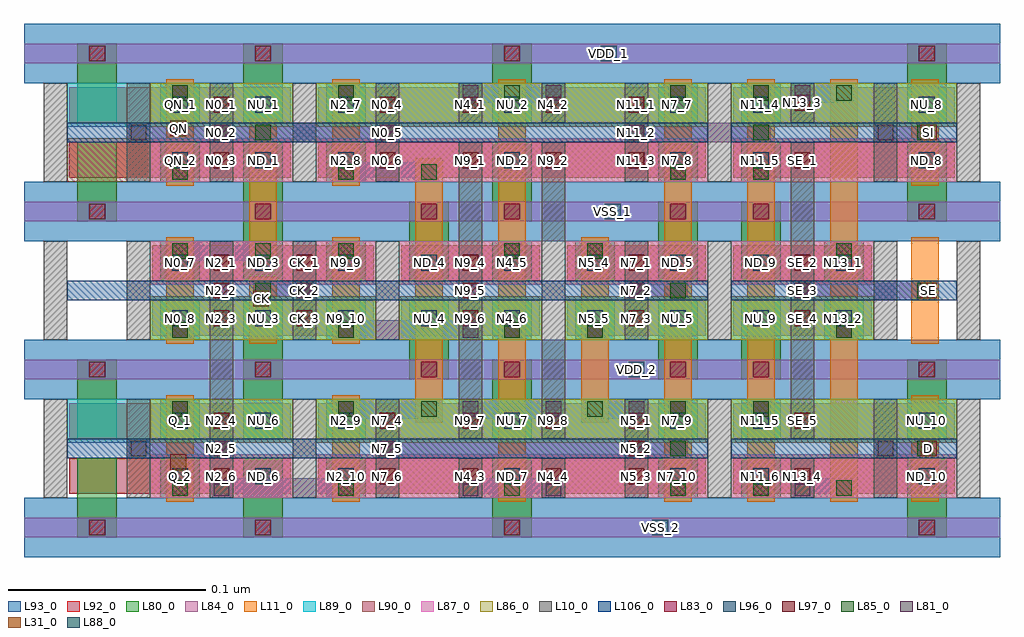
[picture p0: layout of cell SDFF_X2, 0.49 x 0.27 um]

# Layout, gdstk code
import gdstk
lib = gdstk.Library(unit=1e-6, precision=1e-09)
def R(c, l, rs):  # rectangles x0, y0, x1, y1
    for r in rs: c.add(gdstk.rectangle(r[:2], r[2:], *l))
def A(c, l, x, y, w, h, nx, ny, dx, dy):  # array of equal rectangles
    R(c, l, [(x+i*dx, y+j*dy, x+i*dx+w, y+j*dy+h) for i in range(nx) for j in range(ny)])
L10_0 = (10, 0)
L11_0 = (11, 0)
L31_0 = (31, 0)
L80_0 = (80, 0)
L81_0 = (81, 0)
L83_0 = (83, 0)
L84_0 = (84, 0)
L85_0 = (85, 0)
L86_0 = (86, 0)
L87_0 = (87, 0)
L88_0 = (88, 0)
L89_0 = (89, 0)
L90_0 = (90, 0)
L92_0 = (92, 0)
L93_0 = (93, 0)
L96_0 = (96, 0)
L97_0 = (97, 0)
L106_0 = (106, 0)

sdff_x2 = lib.new_cell('SDFF_X2')
A(sdff_x2, L10_0, 0.314, 0.03, 0.012, 0.05, 1, 3, 0, 0.08)
A(sdff_x2, L10_0, 0.356, 0.03, 0.012, 0.05, 1, 3, 0, 0.08)
A(sdff_x2, L10_0, 0.44, 0.03, 0.012, 0.05, 1, 3, 0, 0.08)
A(sdff_x2, L10_0, 0.482, 0.03, 0.012, 0.05, 1, 3, 0, 0.08)
A(sdff_x2, L10_0, 0.02, 0.19, 0.012, 0.05, 5, 1, 0.042, 0)
R(sdff_x2, L10_0, [(0.02,0.03,0.032,0.08), (0.062,0.03,0.074,0.08), (0.104,0.03,0.116,0.16), (0.146,0.03,0.158,0.08), (0.188,0.03,0.2,0.08), (0.23,0.03,0.242,0.05), (0.272,0.03,0.284,0.05), (0.398,0.03,0.41,0.05), (0.23,0.06,0.242,0.08), (0.23,0.06,0.242,0.21), (0.272,0.06,0.284,0.21), (0.398,0.06,0.41,0.08), (0.398,0.08,0.41,0.19), (0.02,0.11,0.032,0.16), (0.062,0.11,0.074,0.16), (0.146,0.11,0.158,0.16), (0.188,0.11,0.2,0.16), (0.398,0.19,0.41,0.21), (0.23,0.22,0.242,0.24), (0.272,0.22,0.284,0.24), (0.398,0.22,0.41,0.24)])
A(sdff_x2, L11_0, 0.082, 0.028, 0.014, 0.034, 4, 2, 0.084, 0.02)
A(sdff_x2, L11_0, 0.459, 0.028, 0.014, 0.054, 1, 3, 0, 0.08)
A(sdff_x2, L11_0, 0.208, 0.068, 0.014, 0.034, 4, 2, 0.042, 0.02)
A(sdff_x2, L11_0, 0.082, 0.108, 0.014, 0.034, 7, 1, 0.042, 0)
A(sdff_x2, L11_0, 0.166, 0.128, 0.014, 0.034, 5, 1, 0.042, 0)
A(sdff_x2, L11_0, 0.25, 0.148, 0.014, 0.034, 1, 3, 0, 0.02)
A(sdff_x2, L11_0, 0.334, 0.148, 0.014, 0.034, 1, 3, 0, 0.02)
A(sdff_x2, L11_0, 0.082, 0.188, 0.014, 0.034, 3, 1, 0.042, 0)
A(sdff_x2, L11_0, 0.082, 0.208, 0.014, 0.034, 4, 1, 0.084, 0)
R(sdff_x2, L11_0, [(0.376,0.028,0.39,0.062), (0.418,0.028,0.432,0.142), (0.376,0.048,0.39,0.082), (0.376,0.062,0.39,0.222), (0.082,0.128,0.096,0.162), (0.418,0.128,0.432,0.242), (0.124,0.148,0.138,0.182), (0.208,0.148,0.222,0.182), (0.124,0.168,0.138,0.202), (0.208,0.168,0.222,0.202), (0.376,0.208,0.39,0.242)])
A(sdff_x2, L31_0, 0.464, 0.051, 0.008, 0.008, 1, 3, 0, 0.08)
R(sdff_x2, L31_0, [(0.084,0.044,0.092,0.052), (0.126,0.127,0.134,0.135), (0.084,0.213,0.092,0.221)])
A(sdff_x2, L80_0, 0.121, 0.01, 0.02, 0.021, 1, 3, 0, 0.08)
A(sdff_x2, L80_0, 0.079, 0.03, 0.02, 0.02, 3, 2, 0.042, 0.16)
A(sdff_x2, L80_0, 0.121, 0.071, 0.02, 0.029, 1, 3, 0, 0.08)
A(sdff_x2, L80_0, 0.079, 0.11, 0.02, 0.02, 9, 1, 0.042, 0)
R(sdff_x2, L80_0, [(0.037,0.01,0.057,0.05), (0.247,0.01,0.267,0.031), (0.457,0.01,0.477,0.031), (0.247,0.03,0.267,0.05), (0.331,0.03,0.351,0.05), (0.373,0.03,0.393,0.05), (0.457,0.03,0.477,0.05), (0.037,0.06,0.057,0.1), (0.079,0.06,0.099,0.08), (0.079,0.06,0.099,0.08), (0.121,0.06,0.141,0.08), (0.121,0.06,0.141,0.08), (0.163,0.06,0.183,0.08), (0.163,0.06,0.183,0.08), (0.247,0.06,0.267,0.08), (0.247,0.06,0.267,0.08), (0.331,0.06,0.351,0.08), (0.331,0.06,0.351,0.08), (0.373,0.06,0.393,0.08), (0.373,0.06,0.393,0.08), (0.457,0.06,0.477,0.08), (0.457,0.06,0.477,0.08), (0.247,0.071,0.267,0.1), (0.457,0.071,0.477,0.1), (0.205,0.09,0.225,0.111), (0.331,0.09,0.351,0.111), (0.373,0.09,0.393,0.111), (0.079,0.14,0.099,0.16), (0.079,0.14,0.099,0.16), (0.121,0.14,0.141,0.16), (0.121,0.14,0.141,0.16), (0.163,0.14,0.183,0.16), (0.163,0.14,0.183,0.16), (0.205,0.14,0.225,0.16), (0.205,0.14,0.225,0.16), (0.247,0.14,0.267,0.16), (0.247,0.14,0.267,0.16), (0.289,0.14,0.309,0.16), (0.289,0.14,0.309,0.16), (0.331,0.14,0.351,0.16), (0.331,0.14,0.351,0.16), (0.373,0.14,0.393,0.16), (0.373,0.14,0.393,0.16), (0.415,0.14,0.435,0.16), (0.415,0.14,0.435,0.16), (0.205,0.151,0.225,0.18), (0.331,0.151,0.351,0.18), (0.373,0.151,0.393,0.18), (0.037,0.17,0.057,0.21), (0.247,0.17,0.267,0.191), (0.457,0.17,0.477,0.191), (0.247,0.19,0.267,0.21), (0.331,0.19,0.351,0.21), (0.373,0.19,0.393,0.21), (0.457,0.19,0.477,0.21), (0.037,0.22,0.057,0.26), (0.079,0.22,0.099,0.24), (0.079,0.22,0.099,0.24), (0.121,0.22,0.141,0.24), (0.121,0.22,0.141,0.24), (0.163,0.22,0.183,0.24), (0.163,0.22,0.183,0.24), (0.247,0.22,0.267,0.24), (0.247,0.22,0.267,0.24), (0.331,0.22,0.351,0.24), (0.331,0.22,0.351,0.24), (0.373,0.22,0.393,0.24), (0.373,0.22,0.393,0.24), (0.457,0.22,0.477,0.24), (0.457,0.22,0.477,0.24), (0.247,0.231,0.267,0.26), (0.457,0.231,0.477,0.26)])
A(sdff_x2, L81_0, 0.232, 0.071, 0.008, 0.008, 3, 1, 0.042, 0)
R(sdff_x2, L81_0, [(0.106,0.031,0.114,0.039), (0.232,0.031,0.24,0.039), (0.274,0.031,0.282,0.039), (0.4,0.031,0.408,0.039), (0.064,0.051,0.072,0.059), (0.106,0.051,0.114,0.059), (0.19,0.051,0.198,0.059), (0.442,0.051,0.45,0.059), (0.232,0.111,0.24,0.119), (0.148,0.131,0.156,0.139), (0.148,0.131,0.156,0.139), (0.316,0.131,0.324,0.139), (0.4,0.131,0.408,0.139), (0.4,0.131,0.408,0.139), (0.064,0.211,0.072,0.219), (0.106,0.211,0.114,0.219), (0.19,0.211,0.198,0.219), (0.19,0.211,0.198,0.219), (0.316,0.211,0.324,0.219), (0.316,0.211,0.324,0.219), (0.442,0.211,0.45,0.219), (0.232,0.231,0.24,0.239), (0.232,0.231,0.24,0.239), (0.274,0.231,0.282,0.239), (0.274,0.231,0.282,0.239), (0.4,0.231,0.408,0.239)])
A(sdff_x2, L83_0, 0.043, 0.011, 0.008, 0.008, 1, 4, 0, 0.08)
A(sdff_x2, L83_0, 0.253, 0.011, 0.008, 0.008, 1, 4, 0, 0.08)
A(sdff_x2, L83_0, 0.463, 0.011, 0.008, 0.008, 1, 4, 0, 0.08)
A(sdff_x2, L83_0, 0.085, 0.111, 0.008, 0.008, 3, 2, 0.084, 0.04)
R(sdff_x2, L83_0, [(0.127,0.011,0.135,0.019), (0.085,0.031,0.093,0.039), (0.169,0.031,0.177,0.039), (0.337,0.031,0.345,0.039), (0.379,0.031,0.387,0.039), (0.085,0.071,0.093,0.079), (0.169,0.071,0.177,0.079), (0.337,0.071,0.345,0.079), (0.379,0.071,0.387,0.079), (0.127,0.091,0.135,0.099), (0.127,0.091,0.135,0.099), (0.211,0.091,0.219,0.099), (0.337,0.091,0.345,0.099), (0.379,0.091,0.387,0.099), (0.295,0.111,0.303,0.119), (0.421,0.111,0.429,0.119), (0.295,0.151,0.303,0.159), (0.421,0.151,0.429,0.159), (0.127,0.171,0.135,0.179), (0.127,0.171,0.135,0.179), (0.211,0.171,0.219,0.179), (0.337,0.171,0.345,0.179), (0.379,0.171,0.387,0.179), (0.085,0.191,0.093,0.199), (0.169,0.191,0.177,0.199), (0.169,0.191,0.177,0.199), (0.337,0.191,0.345,0.199), (0.337,0.191,0.345,0.199), (0.379,0.191,0.387,0.199), (0.085,0.231,0.093,0.239), (0.085,0.231,0.093,0.239), (0.085,0.231,0.093,0.239), (0.085,0.231,0.093,0.239), (0.085,0.231,0.093,0.239), (0.085,0.231,0.093,0.239), (0.169,0.231,0.177,0.239), (0.169,0.231,0.177,0.239), (0.337,0.231,0.345,0.239), (0.337,0.231,0.345,0.239), (0.379,0.231,0.387,0.239), (0.127,0.251,0.135,0.259)])
A(sdff_x2, L84_0, 0.01, 0.01, 0.494, 0.01, 1, 4, 0, 0.08)
A(sdff_x2, L84_0, 0.084, 0.03, 0.01, 0.01, 1, 3, 0, 0.04)
A(sdff_x2, L84_0, 0.105, 0.03, 0.031, 0.01, 3, 1, 0.021, 0)
A(sdff_x2, L84_0, 0.189, 0.05, 0.031, 0.01, 7, 1, 0.021, 0)
A(sdff_x2, L84_0, 0.168, 0.11, 0.031, 0.01, 3, 1, 0.021, 0)
A(sdff_x2, L84_0, 0.126, 0.21, 0.031, 0.01, 3, 1, 0.021, 0)
R(sdff_x2, L84_0, [(0.231,0.03,0.262,0.04), (0.252,0.03,0.283,0.04), (0.336,0.03,0.346,0.04), (0.378,0.03,0.388,0.04), (0.399,0.03,0.43,0.04), (0.063,0.05,0.115,0.06), (0.441,0.05,0.471,0.06), (0.168,0.07,0.199,0.08), (0.189,0.07,0.22,0.08), (0.231,0.07,0.283,0.08), (0.294,0.07,0.325,0.08), (0.336,0.07,0.346,0.08), (0.378,0.07,0.388,0.08), (0.252,0.11,0.262,0.12), (0.294,0.11,0.304,0.12), (0.42,0.11,0.43,0.12), (0.126,0.13,0.157,0.14), (0.315,0.13,0.346,0.14), (0.398,0.13,0.471,0.14), (0.084,0.15,0.115,0.16), (0.105,0.15,0.136,0.16), (0.168,0.15,0.178,0.16), (0.252,0.15,0.262,0.16), (0.294,0.15,0.304,0.16), (0.42,0.15,0.43,0.16), (0.084,0.19,0.094,0.2), (0.168,0.19,0.199,0.2), (0.189,0.19,0.22,0.2), (0.336,0.19,0.346,0.2), (0.378,0.19,0.388,0.2), (0.063,0.21,0.136,0.22), (0.315,0.21,0.388,0.22), (0.441,0.21,0.471,0.22), (0.084,0.23,0.094,0.24), (0.168,0.23,0.178,0.24), (0.231,0.23,0.262,0.24), (0.252,0.23,0.283,0.24), (0.336,0.23,0.346,0.24), (0.378,0.23,0.388,0.24), (0.399,0.23,0.43,0.24)])
A(sdff_x2, L85_0, 0.085, 0.031, 0.008, 0.008, 4, 2, 0.084, 0.2)
A(sdff_x2, L85_0, 0.462, 0.051, 0.008, 0.008, 1, 3, 0, 0.08)
A(sdff_x2, L85_0, 0.295, 0.071, 0.008, 0.008, 3, 1, 0.042, 0)
A(sdff_x2, L85_0, 0.085, 0.111, 0.008, 0.008, 3, 1, 0.084, 0)
A(sdff_x2, L85_0, 0.085, 0.151, 0.008, 0.008, 3, 1, 0.042, 0)
A(sdff_x2, L85_0, 0.379, 0.191, 0.008, 0.008, 1, 3, 0, 0.02)
R(sdff_x2, L85_0, [(0.379,0.031,0.387,0.039), (0.421,0.031,0.429,0.039), (0.337,0.051,0.345,0.059), (0.085,0.071,0.093,0.079), (0.169,0.071,0.177,0.079), (0.211,0.071,0.219,0.079), (0.295,0.111,0.303,0.119), (0.421,0.111,0.429,0.119), (0.127,0.131,0.135,0.139), (0.127,0.131,0.135,0.139), (0.337,0.131,0.345,0.139), (0.253,0.151,0.261,0.159), (0.295,0.151,0.303,0.159), (0.421,0.151,0.429,0.159), (0.085,0.191,0.093,0.199), (0.169,0.191,0.177,0.199), (0.211,0.191,0.219,0.199), (0.337,0.191,0.345,0.199), (0.127,0.211,0.135,0.219), (0.421,0.231,0.429,0.239)])
A(sdff_x2, L86_0, 0.2, 0.11, 0.072, 0.022, 3, 1, 0.084, 0)
R(sdff_x2, L86_0, [(0.074,0.058,0.146,0.08), (0.158,0.058,0.356,0.08), (0.368,0.058,0.482,0.08), (0.074,0.11,0.188,0.132), (0.074,0.218,0.146,0.24), (0.158,0.218,0.356,0.24), (0.368,0.218,0.482,0.24)])
A(sdff_x2, L87_0, 0.2, 0.138, 0.072, 0.022, 3, 1, 0.084, 0)
R(sdff_x2, L87_0, [(0.074,0.03,0.146,0.052), (0.158,0.03,0.356,0.052), (0.368,0.03,0.482,0.052), (0.074,0.138,0.188,0.16), (0.074,0.19,0.146,0.212), (0.158,0.19,0.356,0.212), (0.368,0.19,0.482,0.212)])
R(sdff_x2, L88_0, [(0.328,0.011,0.336,0.019), (0.316,0.091,0.324,0.099), (0.304,0.171,0.312,0.179), (0.302,0.251,0.31,0.259)])
A(sdff_x2, L89_0, 0.2, 0.11, 0.072, 0.022, 3, 1, 0.084, 0)
R(sdff_x2, L89_0, [(0.032,0.058,0.146,0.08), (0.158,0.058,0.356,0.08), (0.368,0.058,0.482,0.08), (0.074,0.11,0.188,0.132), (0.032,0.218,0.146,0.24), (0.158,0.218,0.356,0.24), (0.368,0.218,0.482,0.24), (0.368,0.218,0.482,0.24)])
A(sdff_x2, L90_0, 0.2, 0.138, 0.072, 0.022, 3, 1, 0.084, 0)
R(sdff_x2, L90_0, [(0.074,0.03,0.146,0.052), (0.158,0.03,0.356,0.052), (0.368,0.03,0.482,0.052), (0.074,0.138,0.188,0.16), (0.032,0.19,0.146,0.212), (0.158,0.19,0.356,0.212), (0.368,0.19,0.482,0.212)])
A(sdff_x2, L92_0, 0.201, 0.112, 0.07, 0.018, 3, 2, 0.084, 0.028)
R(sdff_x2, L92_0, [(0.033,0.032,0.145,0.05), (0.159,0.032,0.355,0.05), (0.369,0.032,0.481,0.05), (0.033,0.06,0.145,0.078), (0.159,0.06,0.355,0.078), (0.369,0.06,0.481,0.078), (0.075,0.112,0.187,0.13), (0.075,0.14,0.187,0.158), (0.327,0.14,0.355,0.158), (0.033,0.192,0.145,0.21), (0.159,0.192,0.355,0.21), (0.369,0.192,0.481,0.21), (0.033,0.22,0.145,0.238), (0.159,0.22,0.355,0.238), (0.369,0.22,0.481,0.238)])
A(sdff_x2, L93_0, 0.01, 0, 0.494, 0.03, 1, 4, 0, 0.08)
A(sdff_x2, L96_0, 0.085, 0.037, 0.008, 0.008, 3, 2, 0.042, 0.028)
A(sdff_x2, L96_0, 0.085, 0.117, 0.008, 0.008, 9, 2, 0.042, 0.028)
A(sdff_x2, L96_0, 0.085, 0.197, 0.008, 0.008, 3, 2, 0.042, 0.028)
R(sdff_x2, L96_0, [(0.253,0.037,0.261,0.045), (0.337,0.037,0.345,0.045), (0.379,0.037,0.387,0.045), (0.463,0.037,0.471,0.045), (0.253,0.065,0.261,0.073), (0.337,0.065,0.345,0.073), (0.379,0.065,0.387,0.073), (0.463,0.065,0.471,0.073), (0.253,0.197,0.261,0.205), (0.337,0.197,0.345,0.205), (0.379,0.197,0.387,0.205), (0.463,0.197,0.471,0.205), (0.253,0.225,0.261,0.233), (0.337,0.225,0.345,0.233), (0.379,0.225,0.387,0.233), (0.463,0.225,0.471,0.233)])
A(sdff_x2, L97_0, 0.106, 0.037, 0.008, 0.008, 1, 3, 0, 0.014)
A(sdff_x2, L97_0, 0.19, 0.037, 0.008, 0.008, 4, 2, 0.042, 0.028)
A(sdff_x2, L97_0, 0.106, 0.117, 0.008, 0.008, 1, 3, 0, 0.014)
A(sdff_x2, L97_0, 0.148, 0.117, 0.008, 0.008, 4, 3, 0.084, 0.014)
A(sdff_x2, L97_0, 0.106, 0.197, 0.008, 0.008, 1, 3, 0, 0.014)
A(sdff_x2, L97_0, 0.19, 0.197, 0.008, 0.008, 4, 2, 0.042, 0.028)
R(sdff_x2, L97_0, [(0.4,0.037,0.408,0.045), (0.19,0.051,0.198,0.059), (0.316,0.051,0.324,0.059), (0.4,0.065,0.408,0.073), (0.4,0.197,0.408,0.205), (0.19,0.211,0.198,0.219), (0.316,0.211,0.324,0.219), (0.4,0.226,0.408,0.234)])
A(sdff_x2, L106_0, 0.032, 0.05, 0.324, 0.01, 1, 3, 0, 0.08)
A(sdff_x2, L106_0, 0.368, 0.05, 0.114, 0.01, 1, 3, 0, 0.08)
sdff_x2.add(gdstk.Label('N9_7', (0.236,0.069), layer=97, texttype=0))
sdff_x2.add(gdstk.Label('CK_2', (0.152,0.135), layer=97, texttype=0))
sdff_x2.add(gdstk.Label('N9_5', (0.236,0.135), layer=97, texttype=0))
sdff_x2.add(gdstk.Label('N5_2', (0.32,0.055), layer=97, texttype=0))
sdff_x2.add(gdstk.Label('N4_4', (0.278,0.041), layer=97, texttype=0))
sdff_x2.add(gdstk.Label('N7_4', (0.194,0.069), layer=97, texttype=0))
sdff_x2.add(gdstk.Label('N2_6', (0.11,0.041), layer=97, texttype=0))
sdff_x2.add(gdstk.Label('N13_4', (0.404,0.041), layer=97, texttype=0))
sdff_x2.add(gdstk.Label('N2_5', (0.11,0.055), layer=97, texttype=0))
sdff_x2.add(gdstk.Label('N7_5', (0.194,0.055), layer=97, texttype=0))
sdff_x2.add(gdstk.Label('N2_2', (0.11,0.135), layer=97, texttype=0))
sdff_x2.add(gdstk.Label('N0_2', (0.11,0.215), layer=97, texttype=0))
sdff_x2.add(gdstk.Label('N0_5', (0.194,0.215), layer=97, texttype=0))
sdff_x2.add(gdstk.Label('N4_1', (0.236,0.229), layer=97, texttype=0))
sdff_x2.add(gdstk.Label('N9_1', (0.236,0.201), layer=97, texttype=0))
sdff_x2.add(gdstk.Label('N4_2', (0.278,0.229), layer=97, texttype=0))
sdff_x2.add(gdstk.Label('N9_2', (0.278,0.201), layer=97, texttype=0))
sdff_x2.add(gdstk.Label('N11_2', (0.32,0.215), layer=97, texttype=0))
sdff_x2.add(gdstk.Label('N13_3', (0.404,0.23), layer=97, texttype=0))
sdff_x2.add(gdstk.Label('N7_2', (0.32,0.135), layer=97, texttype=0))
sdff_x2.add(gdstk.Label('N4_3', (0.236,0.041), layer=97, texttype=0))
sdff_x2.add(gdstk.Label('N9_8', (0.278,0.069), layer=97, texttype=0))
sdff_x2.add(gdstk.Label('N0_1', (0.11,0.229), layer=97, texttype=0))
sdff_x2.add(gdstk.Label('N0_4', (0.194,0.229), layer=97, texttype=0))
sdff_x2.add(gdstk.Label('N0_6', (0.194,0.201), layer=97, texttype=0))
sdff_x2.add(gdstk.Label('N0_3', (0.11,0.201), layer=97, texttype=0))
sdff_x2.add(gdstk.Label('N2_1', (0.11,0.149), layer=97, texttype=0))
sdff_x2.add(gdstk.Label('N11_1', (0.32,0.229), layer=97, texttype=0))
sdff_x2.add(gdstk.Label('N11_3', (0.32,0.201), layer=97, texttype=0))
sdff_x2.add(gdstk.Label('N5_3', (0.32,0.041), layer=97, texttype=0))
sdff_x2.add(gdstk.Label('N5_1', (0.32,0.069), layer=97, texttype=0))
sdff_x2.add(gdstk.Label('SE_1', (0.404,0.201), layer=97, texttype=0))
sdff_x2.add(gdstk.Label('SE_5', (0.404,0.069), layer=97, texttype=0))
sdff_x2.add(gdstk.Label('SE_2', (0.404,0.149), layer=97, texttype=0))
sdff_x2.add(gdstk.Label('SE_3', (0.404,0.135), layer=97, texttype=0))
sdff_x2.add(gdstk.Label('SE_4', (0.404,0.121), layer=97, texttype=0))
sdff_x2.add(gdstk.Label('N7_1', (0.32,0.149), layer=97, texttype=0))
sdff_x2.add(gdstk.Label('N7_3', (0.32,0.121), layer=97, texttype=0))
sdff_x2.add(gdstk.Label('N9_4', (0.236,0.149), layer=97, texttype=0))
sdff_x2.add(gdstk.Label('N9_6', (0.236,0.121), layer=97, texttype=0))
sdff_x2.add(gdstk.Label('CK_3', (0.152,0.121), layer=97, texttype=0))
sdff_x2.add(gdstk.Label('CK_1', (0.152,0.149), layer=97, texttype=0))
sdff_x2.add(gdstk.Label('N2_3', (0.11,0.121), layer=97, texttype=0))
sdff_x2.add(gdstk.Label('N7_6', (0.194,0.041), layer=97, texttype=0))
sdff_x2.add(gdstk.Label('N2_4', (0.11,0.069), layer=97, texttype=0))
sdff_x2.add(gdstk.Label('ND_4', (0.215,0.149), layer=96, texttype=0))
sdff_x2.add(gdstk.Label('NU_4', (0.215,0.121), layer=96, texttype=0))
sdff_x2.add(gdstk.Label('N4_6', (0.257,0.121), layer=96, texttype=0))
sdff_x2.add(gdstk.Label('N5_5', (0.299,0.121), layer=96, texttype=0))
sdff_x2.add(gdstk.Label('NU_5', (0.341,0.121), layer=96, texttype=0))
sdff_x2.add(gdstk.Label('ND_5', (0.341,0.149), layer=96, texttype=0))
sdff_x2.add(gdstk.Label('N7_10', (0.341,0.041), layer=96, texttype=0))
sdff_x2.add(gdstk.Label('NU_7', (0.257,0.069), layer=96, texttype=0))
sdff_x2.add(gdstk.Label('ND_7', (0.257,0.041), layer=96, texttype=0))
sdff_x2.add(gdstk.Label('N2_10', (0.173,0.041), layer=96, texttype=0))
sdff_x2.add(gdstk.Label('N2_9', (0.173,0.069), layer=96, texttype=0))
sdff_x2.add(gdstk.Label('ND_6', (0.131,0.041), layer=96, texttype=0))
sdff_x2.add(gdstk.Label('NU_10', (0.467,0.069), layer=96, texttype=0))
sdff_x2.add(gdstk.Label('N11_5', (0.383,0.069), layer=96, texttype=0))
sdff_x2.add(gdstk.Label('N11_6', (0.383,0.041), layer=96, texttype=0))
sdff_x2.add(gdstk.Label('N11_5', (0.383,0.201), layer=96, texttype=0))
sdff_x2.add(gdstk.Label('N11_4', (0.383,0.229), layer=96, texttype=0))
sdff_x2.add(gdstk.Label('NU_3', (0.131,0.121), layer=96, texttype=0))
sdff_x2.add(gdstk.Label('ND_3', (0.131,0.149), layer=96, texttype=0))
sdff_x2.add(gdstk.Label('N9_9', (0.173,0.149), layer=96, texttype=0))
sdff_x2.add(gdstk.Label('ND_1', (0.131,0.201), layer=96, texttype=0))
sdff_x2.add(gdstk.Label('NU_1', (0.131,0.229), layer=96, texttype=0))
sdff_x2.add(gdstk.Label('Q_1', (0.089,0.069), layer=96, texttype=0))
sdff_x2.add(gdstk.Label('ND_2', (0.257,0.201), layer=96, texttype=0))
sdff_x2.add(gdstk.Label('N7_7', (0.341,0.229), layer=96, texttype=0))
sdff_x2.add(gdstk.Label('ND_9', (0.383,0.149), layer=96, texttype=0))
sdff_x2.add(gdstk.Label('NU_9', (0.383,0.121), layer=96, texttype=0))
sdff_x2.add(gdstk.Label('N13_1', (0.425,0.149), layer=96, texttype=0))
sdff_x2.add(gdstk.Label('N13_2', (0.425,0.121), layer=96, texttype=0))
sdff_x2.add(gdstk.Label('Q_2', (0.089,0.041), layer=96, texttype=0))
sdff_x2.add(gdstk.Label('NU_2', (0.257,0.229), layer=96, texttype=0))
sdff_x2.add(gdstk.Label('ND_10', (0.467,0.041), layer=96, texttype=0))
sdff_x2.add(gdstk.Label('NU_8', (0.467,0.229), layer=96, texttype=0))
sdff_x2.add(gdstk.Label('N7_9', (0.341,0.069), layer=96, texttype=0))
sdff_x2.add(gdstk.Label('QN_1', (0.089,0.229), layer=96, texttype=0))
sdff_x2.add(gdstk.Label('N2_8', (0.173,0.201), layer=96, texttype=0))
sdff_x2.add(gdstk.Label('N4_5', (0.257,0.149), layer=96, texttype=0))
sdff_x2.add(gdstk.Label('N0_8', (0.089,0.121), layer=96, texttype=0))
sdff_x2.add(gdstk.Label('ND_8', (0.467,0.201), layer=96, texttype=0))
sdff_x2.add(gdstk.Label('QN_2', (0.089,0.201), layer=96, texttype=0))
sdff_x2.add(gdstk.Label('N2_7', (0.173,0.229), layer=96, texttype=0))
sdff_x2.add(gdstk.Label('N9_10', (0.173,0.121), layer=96, texttype=0))
sdff_x2.add(gdstk.Label('N5_4', (0.299,0.149), layer=96, texttype=0))
sdff_x2.add(gdstk.Label('N7_8', (0.341,0.201), layer=96, texttype=0))
sdff_x2.add(gdstk.Label('N0_7', (0.089,0.149), layer=96, texttype=0))
sdff_x2.add(gdstk.Label('NU_6', (0.131,0.069), layer=96, texttype=0))
sdff_x2.add(gdstk.Label('VSS_1', (0.308,0.175), layer=88, texttype=0))
sdff_x2.add(gdstk.Label('VSS_2', (0.332,0.015), layer=88, texttype=0))
sdff_x2.add(gdstk.Label('VDD_2', (0.32,0.095), layer=88, texttype=0))
sdff_x2.add(gdstk.Label('VDD_1', (0.306,0.255), layer=88, texttype=0))
sdff_x2.add(gdstk.Label('SI', (0.468,0.215), layer=31, texttype=0))
sdff_x2.add(gdstk.Label('SE', (0.468,0.135), layer=31, texttype=0))
sdff_x2.add(gdstk.Label('D', (0.468,0.055), layer=31, texttype=0))
sdff_x2.add(gdstk.Label('QN', (0.088,0.217), layer=31, texttype=0))
sdff_x2.add(gdstk.Label('Q', (0.088,0.048), layer=31, texttype=0))
sdff_x2.add(gdstk.Label('CK', (0.13,0.131), layer=31, texttype=0))

lib.write_gds('SDFF_X2.gds')
